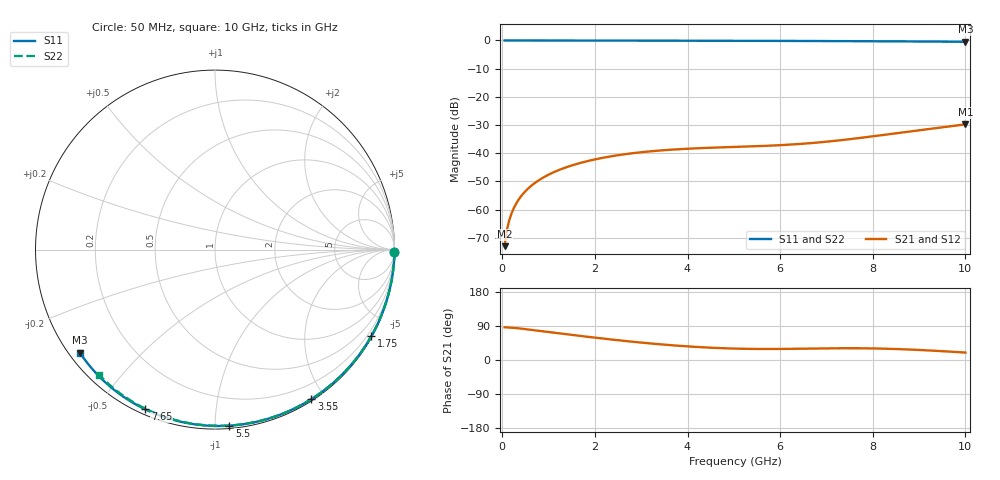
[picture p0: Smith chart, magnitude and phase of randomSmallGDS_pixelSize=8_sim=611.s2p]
! freq	dB(S11)	phase(S11)	dB(S12)	phase(S12)
!  dB(S21)	phase(S21)	dB(S22)	phase(S22)
!S-par simulation data
#  GHz  S  DB  R 50
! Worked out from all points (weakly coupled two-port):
!   200 points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, 50 MHz to 10 GHz, reference 50 ohm
!   highest |S21| = -29.77 dB at 10 GHz (marker M1); lowest = -73.0 dB at 50 MHz (marker M2)
!   lowest |S11| = -0.5 dB at 10 GHz (marker M3), VSWR 36.82, Z = 1.51 - j16.9 ohm
!   |S11| at or under -10 dB: nowhere
!   |S22| runs from -0.4 to 0.0 dB; largest |S21 - S12| = 0
!   S11 on the Smith chart (normalised r, x): 50 MHz: open; 1.75 GHz: 0.03, -3.87; 3.55 GHz: 0.02, -1.84; 5.5 GHz: 0.02, -1.09; 7.65 GHz: 0.02, -0.65; 10 GHz: 0.03, -0.34
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0.05  -0.00 -0.8  -72.96 86.4  -72.96 86.4  -0.00 -0.8
0.1  -0.00 -1.7  -67.20 86.1  -67.20 86.1  -0.00 -1.6
0.15  -0.00 -2.5  -63.78 85.8  -63.78 85.8  -0.00 -2.3
0.2  -0.00 -3.4  -61.32 85.4  -61.32 85.4  -0.00 -3.1
0.25  -0.00 -4.2  -59.41 84.8  -59.41 84.8  -0.00 -3.9
0.35  -0.00 -5.9  -56.52 83.6  -56.52 83.6  -0.00 -5.5
0.5  -0.01 -8.4  -53.46 81.4  -53.46 81.4  -0.01 -7.8
0.7  -0.01 -11.7  -50.59 78.4  -50.59 78.4  -0.01 -10.9
1  -0.02 -16.7  -47.60 73.8  -47.60 73.8  -0.02 -15.5
1.35  -0.03 -22.4  -45.16 68.5  -45.16 68.5  -0.03 -20.8
1.75  -0.04 -28.9  -43.16 62.6  -43.16 62.6  -0.03 -26.9
2.5  -0.05 -40.9  -40.70 52.2  -40.70 52.2  -0.05 -38.1
3.4  -0.07 -54.9  -39.04 41.5  -39.04 41.5  -0.07 -51.1
3.55  -0.08 -57.2  -38.85 40.0  -38.85 40.0  -0.07 -53.2
4.3  -0.10 -68.3  -38.17 33.7  -38.17 33.7  -0.09 -63.6
5.05  -0.12 -79.1  -37.75 30.0  -37.75 30.0  -0.11 -73.7
5.5  -0.14 -85.3  -37.50 29.1  -37.50 29.1  -0.13 -79.6
6.7  -0.19 -101.4  -36.36 30.3  -36.36 30.3  -0.18 -94.7
7.65  -0.25 -113.6  -34.73 31.0  -34.73 31.0  -0.24 -106.0
8.35  -0.31 -122.4  -33.25 29.6  -33.25 29.6  -0.29 -114.2
9.2  -0.39 -132.8  -31.42 25.3  -31.42 25.3  -0.36 -123.8
10  -0.47 -142.6  -29.77 19.6  -29.77 19.6  -0.44 -132.7
